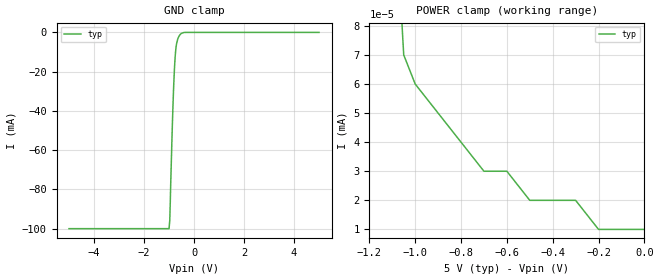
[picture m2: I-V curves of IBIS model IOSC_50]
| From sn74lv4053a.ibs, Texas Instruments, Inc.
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[Model]   IOSC_50
Model_type  Terminator
| variable   typ   min   max
C_comp   7.7pf   NA   NA
[Temperature Range]   27   NA   NA
[Voltage range]   5.0   NA   NA
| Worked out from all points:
|   GND clamp passes 1 mA (typ) near -0.55 V on its own axis
|   POWER clamp passes 1 mA (typ) near -1.86 V on its own axis
[GND Clamp]
| IOSC_50
|   Voltage   I(typ)   I(min)   I(max)
-5V       -100mA     NA         NA
-1V       -100mA     NA         NA
-970mV    -95.64mA   NA         NA
-910mV    -66.37mA   NA         NA
-850mV    -40.23mA   NA         NA
-810mV    -25.99mA   NA         NA
-790mV    -20.19mA   NA         NA
-760mV    -13.36mA   NA         NA
-710mV    -6.634mA   NA         NA
-650mV    -3.282mA   NA         NA
-500mV    -441.4uA   NA         NA
5V        10nA       NA         NA
[POWER Clamp]
| IOS_50
|   Voltage   I(typ)   I(min)   I(max)
-5V       78.48mA    NA         NA
-1.1V     140nA      NA         NA
-1.05V    70nA       NA         NA
-1V       60nA       NA         NA
-700mV    30nA       NA         NA
-600mV    30nA       NA         NA
-500mV    20nA       NA         NA
-300mV    20nA       NA         NA
-200mV    10nA       NA         NA
0V        10nA       NA         NA
